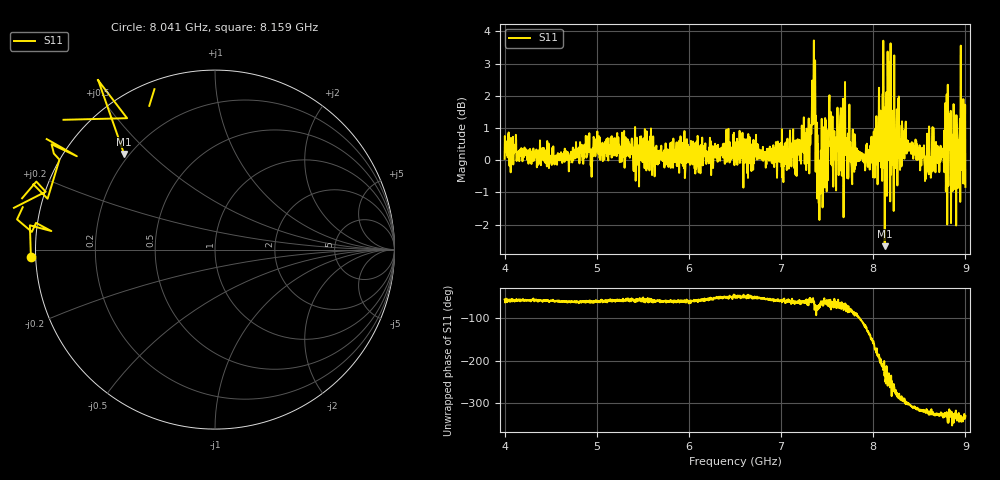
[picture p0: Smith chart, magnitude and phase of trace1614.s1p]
! Created with skrf 1.8.0 (http://scikit-rf.org).
# Hz S RI R 50.0
!freq ReS11 ImS11
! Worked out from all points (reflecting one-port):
!   1601 points, 4 GHz to 9 GHz, reference 50 ohm
!   lowest |S11| = -2.7 dB at 8.125 GHz (marker M1), VSWR 6.57, Z = 8.98 + j20.9 ohm
!   phase of S11 starts at -56 deg and turns -275 deg over the sweep
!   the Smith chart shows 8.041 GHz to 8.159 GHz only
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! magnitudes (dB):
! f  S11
! 4 GHz  0.0
! 4.625 GHz  -0.1
! 5.25 GHz  -0.1
! 5.875 GHz  0.0
! 6.5 GHz  0.6
! 7.125 GHz  0.1
! 7.294 GHz  0.5
! 7.347 GHz  1.8
! 7.378 GHz  1.4
! 7.4 GHz  0.5
! 7.428 GHz  -1.0
! 7.534 GHz  0.9
! 7.572 GHz  0.9
! 7.669 GHz  1.2
! 7.75 GHz  0.6
! 8.022 GHz  1.0
! 8.088 GHz  0.0
! 8.125 GHz  -2.7
! 8.15 GHz  -1.1
! 8.162 GHz  0.8
! 8.216 GHz  1.5
! 8.375 GHz  0.6
! 8.556 GHz  -0.1
! 8.816 GHz  -0.8
! 8.869 GHz  -0.7
! 8.956 GHz  0.1
! 8.972 GHz  0.4
! 9 GHz  -0.8
